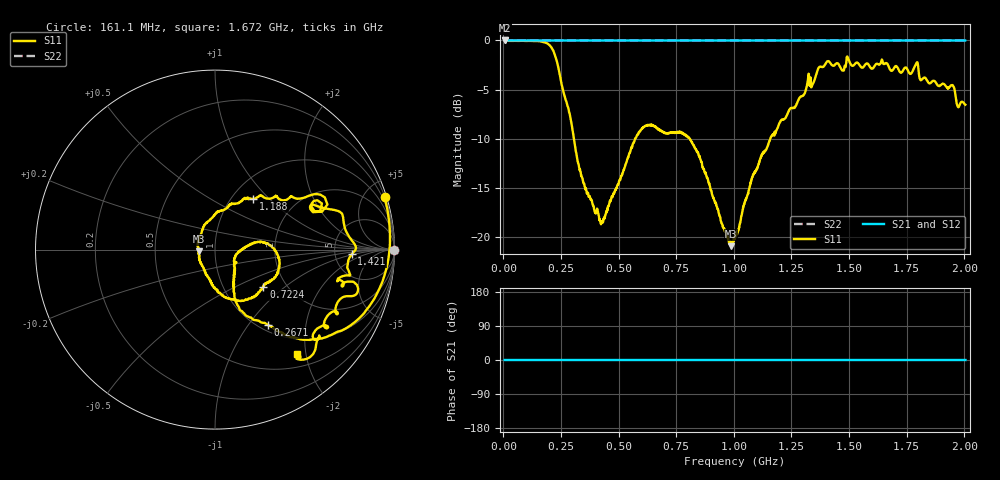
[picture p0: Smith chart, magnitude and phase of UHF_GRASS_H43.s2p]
!Keysight Technologies N9923A: A.08.09
!Date: Wednesday, 01 August 2018 07:12:22
!Timezone: (GMT+08:00) Kuala Lumpur, Singapore
!Model: N9923A
!Serial: MY52412143
!GPS Latitude:
!GPS Longitude:
!GPS TimeStamp: 0001-01-01 00:00:00Z
!GPS Seconds Since Last Read: 0
!CHECKSUM:1315533778
!Correction: S11(ON U)S21()S12()S22()
!S2P File: Measurements:S11,S21,S12,S22:
# Hz S DB R 50
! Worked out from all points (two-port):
!   2000 points, 5 MHz to 2.005 GHz, reference 50 ohm
!   highest |S21| = 0.00 dB at 5 MHz (marker M1); lowest = 0.0 dB at 5 MHz (marker M2)
!   |S21| within 3 dB of the highest: start of sweep to end of sweep
!   lowest |S11| = -20.9 dB at 987.5 MHz (marker M3), VSWR 1.20, Z = 41.8 - j0.869 ohm
!   |S11| at or under -10 dB: 305.8 MHz to 571 MHz (265.3 MHz wide, 60.5 % of centre); 808.5 MHz to 1.158 GHz (349.4 MHz wide, 35.5 % of centre)
!   |S22| runs from 0.0 to 0.0 dB; largest |S21 - S12| = 0
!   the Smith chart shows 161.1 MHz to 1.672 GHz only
!   S11 on the Smith chart (normalised r, x): 161.1 MHz: 0.24, +6.61; 267.1 MHz: 1.09, -1.24; 722.4 MHz: 1.54, -0.72; 1.188 GHz: 1.25, +0.81; 1.421 GHz: 7.29, -0.92; 1.672 GHz: 0.72, -1.83
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5000000  -0.02 172.8  0.00 0.0  0.00 0.0  0.00 0.0
4.101801e7  -0.05 124.5  0.00 0.0  0.00 0.0  0.00 0.0
7.003252e7  -0.05 91.4  0.00 0.0  0.00 0.0  0.00 0.0
1.15055e8  -0.04 51.0  0.00 0.0  0.00 0.0  0.00 0.0
1.61078e8  -0.09 17.2  0.00 0.0  0.00 0.0  0.00 0.0
1.95095e8  -0.38 -7.9  0.00 0.0  0.00 0.0  0.00 0.0
2.241096e8  -1.54 -32.6  0.00 0.0  0.00 0.0  0.00 0.0
2.671311e8  -5.81 -55.1  0.00 0.0  0.00 0.0  0.00 0.0
3.391671e8  -13.85 -59.0  0.00 0.0  0.00 0.0  0.00 0.0
4.282116e8  -18.42 -18.8  0.00 0.0  0.00 0.0  0.00 0.0
5.512731e8  -11.24 8.5  0.00 0.0  0.00 0.0  0.00 0.0
6.723337e8  -9.07 -29.6  0.00 0.0  0.00 0.0  0.00 0.0
7.223587e8  -9.36 -37.5  0.00 0.0  0.00 0.0  0.00 0.0
8.354152e8  -11.04 -75.6  0.00 0.0  0.00 0.0  0.00 0.0
9.874912e8  -20.91 -173.4  0.00 0.0  0.00 0.0  0.00 0.0
1.0055e9  -19.88 160.9  0.00 0.0  0.00 0.0  0.00 0.0
1.187591e9  -9.00 53.0  0.00 0.0  0.00 0.0  0.00 0.0
1.338667e9  -4.63 24.8  0.00 0.0  0.00 0.0  0.00 0.0
1.420708e9  -2.36 -2.0  0.00 0.0  0.00 0.0  0.00 0.0
1.671833e9  -2.64 -51.9  0.00 0.0  0.00 0.0  0.00 0.0
1.791893e9  -2.34 -75.9  0.00 0.0  0.00 0.0  0.00 0.0
2.005e9  -6.53 -134.3  0.00 0.0  0.00 0.0  0.00 0.0
